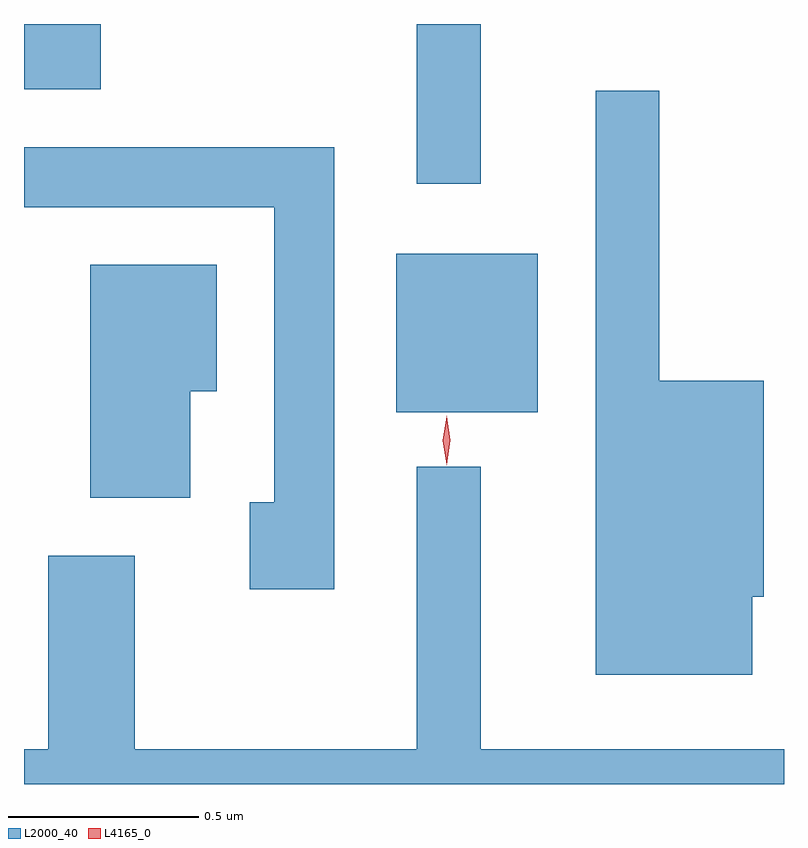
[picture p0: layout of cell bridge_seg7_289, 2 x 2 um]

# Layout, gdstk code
import gdstk
lib = gdstk.Library(unit=1e-6, precision=1e-09)
def R(c, l, rs):  # rectangles x0, y0, x1, y1
    for r in rs: c.add(gdstk.rectangle(r[:2], r[2:], *l))
def P(c, l, *ps):  # polygons
    for p in ps: c.add(gdstk.Polygon(p, *l))
L2000_40 = (2000, 40)
L4165_0 = (4165, 0)

bridge_seg7_289 = lib.new_cell('bridge_seg7_289')
R(bridge_seg7_289, L2000_40, [(1262.766,1773.191,1263.139,1773.609), (1262.821,1773.793,1262.989,1774.213), (1261.787,1774.041,1261.989,1774.213)])
P(bridge_seg7_289, L2000_40, [(1263.704,1772.706),(1263.734,1772.706),(1263.734,1773.274),(1263.459,1773.274),(1263.459,1774.038),(1263.291,1774.038),(1263.291,1772.501),(1263.704,1772.501)],
  [(1262.604,1773.889),(1261.787,1773.889),(1261.787,1773.731),(1262.446,1773.731),(1262.446,1772.954),(1262.381,1772.954),(1262.381,1772.726),(1262.604,1772.726)],
  [(1262.224,1773.246),(1262.294,1773.246),(1262.294,1773.579),(1261.961,1773.579),(1261.961,1772.966),(1262.224,1772.966)],
  [(1263.787,1772.304),(1262.989,1772.304),(1262.989,1773.048),(1262.821,1773.048),(1262.821,1772.304),(1262.079,1772.304),(1262.079,1772.814),(1261.851,1772.814),(1261.851,1772.304),(1261.787,1772.304),(1261.787,1772.213),(1263.787,1772.213)])
P(bridge_seg7_289, L4165_0, [(1262.899,1773.052),(1262.899,1773.053),(1262.889,1773.117),(1262.899,1773.181),(1262.899,1773.182),(1262.9,1773.181),(1262.909,1773.117),(1262.9,1773.053)])

lib.write_gds('bridge_seg7_289.gds')
